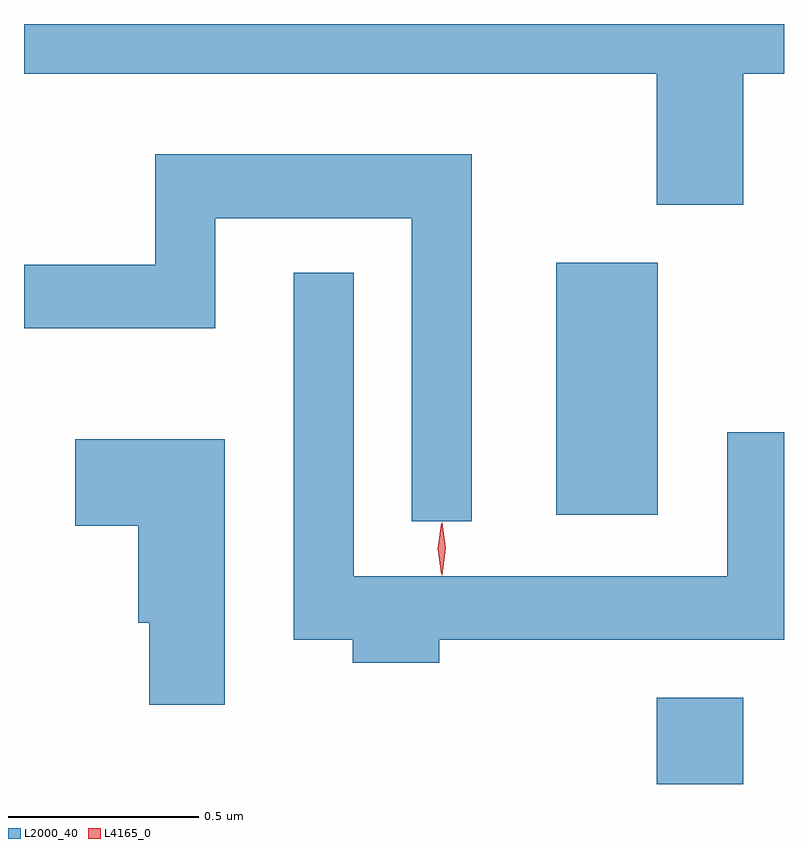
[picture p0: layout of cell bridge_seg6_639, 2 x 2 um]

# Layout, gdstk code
import gdstk
lib = gdstk.Library(unit=1e-6, precision=1e-09)
def R(c, l, rs):  # rectangles x0, y0, x1, y1
    for r in rs: c.add(gdstk.rectangle(r[:2], r[2:], *l))
def P(c, l, *ps):  # polygons
    for p in ps: c.add(gdstk.Polygon(p, *l))
L2000_40 = (2000, 40)
L4165_0 = (4165, 0)

bridge_seg6_639 = lib.new_cell('bridge_seg6_639')
R(bridge_seg6_639, L2000_40, [(545.191,1610.327,545.419,1610.554), (544.926,1611.036,545.194,1611.699)])
P(bridge_seg6_639, L2000_40, [(545.419,1612.196),(545.526,1612.196),(545.526,1612.327),(543.526,1612.327),(543.526,1612.196),(545.191,1612.196),(545.191,1611.851),(545.419,1611.851)],
  [(544.704,1611.984),(543.871,1611.984),(543.871,1611.694),(543.526,1611.694),(543.526,1611.526),(544.029,1611.526),(544.029,1611.816),(544.546,1611.816),(544.546,1611.018),(544.704,1611.018)],
  [(544.619,1610.706),(545.526,1610.706),(545.526,1611.253),(545.376,1611.253),(545.376,1610.874),(544.394,1610.874),(544.394,1611.673),(544.236,1611.673),(544.236,1610.706),(544.391,1610.706),(544.391,1610.646),(544.619,1610.646)],
  [(544.054,1611.234),(543.661,1611.234),(543.661,1611.006),(543.826,1611.006),(543.826,1610.751),(543.856,1610.751),(543.856,1610.536),(544.054,1610.536)])
P(bridge_seg6_639, L4165_0, [(544.625,1610.879),(544.624,1610.88),(544.615,1610.946),(544.624,1611.012),(544.624,1611.013),(544.625,1611.012),(544.634,1610.946),(544.625,1610.88)],
  [(544.626,1610.877),(544.626,1610.877),(544.616,1610.947),(544.626,1611.016),(544.626,1611.016),(544.627,1611.016),(544.636,1610.947),(544.627,1610.877)])

lib.write_gds('bridge_seg6_639.gds')
